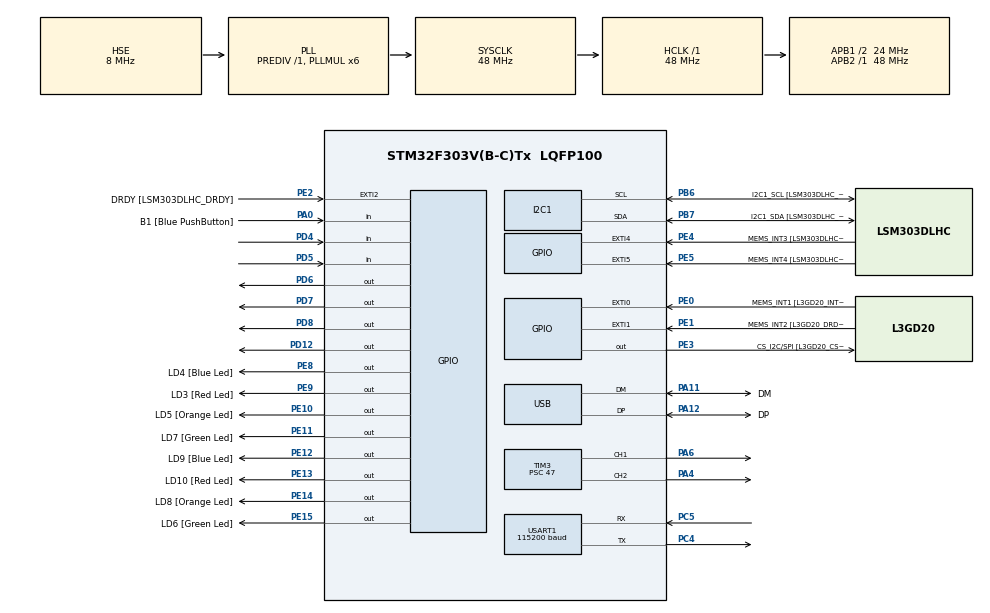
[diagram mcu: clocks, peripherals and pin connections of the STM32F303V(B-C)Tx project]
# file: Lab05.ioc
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I2C1.Timing=0x2000090E
I2C1.Timing-I2C=0x2000090E
Mcu.Family=STM32F3
Mcu.Name=STM32F303V(B-C)Tx
Mcu.Package=LQFP100
NVIC.PriorityGroup=NVIC_PRIORITYGROUP_0
NVIC.USB_LP_CAN_RX0_IRQn=true\:0\:0\:false\:false\:true\:false\:true\:true
PA0.GPIO_Label=B1 [Blue PushButton]
PA0.Signal=GPIO_Input
PA11.GPIO_Label=DM
PA11.Mode=Device
PA11.Signal=USB_DM
PA12.GPIO_Label=DP
PA12.Mode=Device
PA12.Signal=USB_DP
PA13.GPIO_Label=SWDIO
PA13.Mode=Serial_Wire
PA13.Signal=SYS_JTMS-SWDIO
PA14.GPIO_Label=SWCLK
PA14.Mode=Serial_Wire
PA14.Signal=SYS_JTCK-SWCLK
PA4.Signal=S_TIM3_CH2
PA5.GPIO_Label=SPI1_SCK [L3GD20_SCL/SPC]
PA5.Signal=SPI1_SCK
PA6.Signal=S_TIM3_CH1
PA7.GPIO_Label=SPI1_MISO [L3GD20_SDA/SDI/SDO]
PA7.Signal=SPI1_MOSI
PB3.GPIO_Label=SWO
PB3.Signal=SYS_JTDO-TRACESWO
PB6.GPIO_Label=I2C1_SCL [LSM303DLHC_SCL]
PB6.GPIO_Pu=GPIO_PULLUP
PB6.Mode=I2C
PB6.Signal=I2C1_SCL
PB7.GPIO_Label=I2C1_SDA [LSM303DLHC_SDA]
PB7.GPIO_Pu=GPIO_PULLUP
PB7.Mode=I2C
PB7.Signal=I2C1_SDA
PC14-OSC32_IN.GPIO_Label=OSC32_IN
PC14-OSC32_IN.Signal=RCC_OSC32_IN
PC15-OSC32_OUT.GPIO_Label=OSC32_OUT
PC15-OSC32_OUT.Signal=RCC_OSC32_OUT
PC4.Mode=Asynchronous
PC4.Signal=USART1_TX
PC5.Mode=Asynchronous
PC5.Signal=USART1_RX
PD12.Signal=GPIO_Output
PD4.Signal=GPIO_Input
PD5.Signal=GPIO_Input
PD6.Signal=GPIO_Output
PD7.Signal=GPIO_Output
PD8.Signal=GPIO_Output
PE0.GPIO_Label=MEMS_INT1 [L3GD20_INT1]
PE0.GPIO_ModeDefaultEXTI=GPIO_MODE_EVT_RISING
PE0.Signal=GPXTI0
PE1.GPIO_Label=MEMS_INT2 [L3GD20_DRDY/INT2]
PE1.GPIO_ModeDefaultEXTI=GPIO_MODE_EVT_RISING
PE1.Signal=GPXTI1
PE10.GPIO_Label=LD5 [Orange Led]
PE10.Signal=GPIO_Output
PE11.GPIO_Label=LD7 [Green Led]
PE11.Signal=GPIO_Output
PE12.GPIO_Label=LD9 [Blue Led]
PE12.Signal=GPIO_Output
PE13.GPIO_Label=LD10 [Red Led]
PE13.Signal=GPIO_Output
PE14.GPIO_Label=LD8 [Orange Led]
PE14.Signal=GPIO_Output
PE15.GPIO_Label=LD6 [Green Led]
PE15.Signal=GPIO_Output
PE2.GPIO_Label=DRDY [LSM303DLHC_DRDY]
PE2.GPIO_ModeDefaultEXTI=GPIO_MODE_EVT_RISING
PE2.Signal=GPXTI2
PE3.GPIO_Label=CS_I2C/SPI [L3GD20_CS_I2C/SPI]
PE3.Signal=GPIO_Output
PE4.GPIO_Label=MEMS_INT3 [LSM303DLHC_INT1]
PE4.GPIO_ModeDefaultEXTI=GPIO_MODE_EVT_RISING
PE4.Signal=GPXTI4
PE5.GPIO_Label=MEMS_INT4 [LSM303DLHC_INT2]
PE5.GPIO_ModeDefaultEXTI=GPIO_MODE_EVT_RISING
PE5.Signal=GPXTI5
PE8.GPIO_Label=LD4 [Blue Led]
PE8.Signal=GPIO_Output
PE9.GPIO_Label=LD3 [Red Led]
PE9.Signal=GPIO_Output
PF0-OSC_IN.GPIO_Label=OSC_IN
PF0-OSC_IN.Mode=HSE-External-Clock-Source
PF0-OSC_IN.Signal=RCC_OSC_IN
PF1-OSC_OUT.GPIO_Label=OSC_OUT
PF1-OSC_OUT.Signal=RCC_OSC_OUT
ProjectManager.HeapSize=0x200
ProjectManager.StackSize=0x400
ProjectManager.TargetToolchain=CMake
RCC.AHBFreq_Value=48000000
RCC.APB1CLKDivider=RCC_HCLK_DIV2
RCC.APB1Freq_Value=24000000
RCC.APB1TimFreq_Value=48000000
RCC.APB2Freq_Value=48000000
RCC.APB2TimFreq_Value=48000000
RCC.CortexFreq_Value=48000000
RCC.HCLKFreq_Value=48000000
RCC.HSE_VALUE=8000000
RCC.HSI_VALUE=8000000
RCC.LSE_VALUE=32768
RCC.PLLMUL=RCC_PLL_MUL6
RCC.SYSCLKFreq_VALUE=48000000
RCC.SYSCLKSourceVirtual=RCC_SYSCLKSOURCE_PLLCLK
RCC.USBFreq_Value=48000000
SH.S_TIM3_CH1.0=TIM3_CH1,PWM Generation1 CH1
SH.S_TIM3_CH2.0=TIM3_CH2,PWM Generation2 CH2
TIM3.Channel-PWM\ Generation1\ CH1=TIM_CHANNEL_1
TIM3.Channel-PWM\ Generation2\ CH2=TIM_CHANNEL_2
TIM3.Period=999
TIM3.Prescaler=47
TIM3.Pulse-PWM\ Generation1\ CH1=500
TIM3.Pulse-PWM\ Generation2\ CH2=500
USART1.BaudRate=115200
USART1.VirtualMode-Asynchronous=VM_ASYNC
USB_DEVICE.CLASS_NAME_FS=CDC
USB_DEVICE.VirtualMode=Cdc
USB_DEVICE.VirtualModeFS=Cdc_FS
VP_USB_DEVICE_VS_USB_DEVICE_CDC_FS.Mode=CDC_FS
board=STM32F3DISCOVERY

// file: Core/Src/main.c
/* USER CODE BEGIN Header */
/**
  ******************************************************************************
  * @file           : main.c
  * @brief          : Main program body
  ******************************************************************************
  * @attention
  *
  * Copyright (c) 2026 STMicroelectronics.
  * All rights reserved.
  *
  * This software is licensed under terms that can be found in the LICENSE file
  * in the root directory of this software component.
  * If no LICENSE file comes with this software, it is provided AS-IS.
  *
  ******************************************************************************
  */
/* USER CODE END Header */
#include "main.h"
#include "stm32f3xx_hal.h"
#include "usb_device.h"

I2C_HandleTypeDef hi2c1;

TIM_HandleTypeDef htim3;

UART_HandleTypeDef huart1;

void SystemClock_Config(void);
static void MX_GPIO_Init(void);
static void MX_I2C1_Init(void);
static void MX_TIM3_Init(void);
static void MX_USART1_UART_Init(void);

/* USER CODE BEGIN 0 */
void RightMotor_Backward(uint8_t speed);
void RightMotor_Forward(uint8_t speed);
void RightMotor_Stop(void);
void LeftMotor_Forward(uint8_t speed);
void LeftMotor_Backward(uint8_t speed);
void LeftMotor_Stop(void);

/* USER CODE END 0 */

int main(void)
{

  /* MCU Configuration--------------------------------------------------------*/

  /* Reset of all peripherals, Initializes the Flash interface and the Systick. */
  HAL_Init();

  /* Configure the system clock */
  SystemClock_Config();

  /* Initialize all configured peripherals */
  MX_GPIO_Init();
  MX_I2C1_Init();
  MX_TIM3_Init();
  MX_USART1_UART_Init();
  MX_USB_DEVICE_Init();
  /* USER CODE BEGIN 2 */
  HAL_TIM_PWM_Start(&htim3, TIM_CHANNEL_1);
  HAL_TIM_PWM_Start(&htim3, TIM_CHANNEL_2);
  /* USER CODE END 2 */

  /* Infinite loop */
  while (1)
  {

    /* USER CODE BEGIN 3 */
    //RightMotor_Backward(255);
     /* USER CODE END WHILE */

    // Update duty cycle
    for (int new_CCR_value = 0; new_CCR_value <= 255; new_CCR_value += 1) {
      HAL_Delay (100);
      LeftMotor_Forward(new_CCR_value);
      RightMotor_Forward(new_CCR_value);
    }
    LeftMotor_Stop();
    RightMotor_Stop();
    HAL_Delay(2000);

    for (int new_CCR_value = 255; new_CCR_value >= 0; new_CCR_value -= 1) {
      HAL_Delay (100);
      LeftMotor_Backward(new_CCR_value);
      RightMotor_Backward(new_CCR_value);
    }
    // RightMotor_Forward(255);
    // LeftMotor_Forward(255);

  }
  /* USER CODE END 3 */
}

void SystemClock_Config(void)
{
  RCC_OscInitTypeDef RCC_OscInitStruct = {0};
  RCC_ClkInitTypeDef RCC_ClkInitStruct = {0};
  RCC_PeriphCLKInitTypeDef PeriphClkInit = {0};

  /** Initializes the RCC Oscillators according to the specified parameters
  * in the RCC_OscInitTypeDef structure.
  */
  RCC_OscInitStruct.OscillatorType = RCC_OSCILLATORTYPE_HSI|RCC_OSCILLATORTYPE_HSE;
  RCC_OscInitStruct.HSEState = RCC_HSE_BYPASS;
  RCC_OscInitStruct.HSEPredivValue = RCC_HSE_PREDIV_DIV1;
  RCC_OscInitStruct.HSIState = RCC_HSI_ON;
  RCC_OscInitStruct.HSICalibrationValue = RCC_HSICALIBRATION_DEFAULT;
  RCC_OscInitStruct.PLL.PLLState = RCC_PLL_ON;
  RCC_OscInitStruct.PLL.PLLSource = RCC_PLLSOURCE_HSE;
  RCC_OscInitStruct.PLL.PLLMUL = RCC_PLL_MUL6;
  if (HAL_RCC_OscConfig(&RCC_OscInitStruct) != HAL_OK)
  {
    Error_Handler();
  }

  /** Initializes the CPU, AHB and APB buses clocks
  */
  RCC_ClkInitStruct.ClockType = RCC_CLOCKTYPE_HCLK|RCC_CLOCKTYPE_SYSCLK
                              |RCC_CLOCKTYPE_PCLK1|RCC_CLOCKTYPE_PCLK2;
  RCC_ClkInitStruct.SYSCLKSource = RCC_SYSCLKSOURCE_PLLCLK;
  RCC_ClkInitStruct.AHBCLKDivider = RCC_SYSCLK_DIV1;
  RCC_ClkInitStruct.APB1CLKDivider = RCC_HCLK_DIV2;
  RCC_ClkInitStruct.APB2CLKDivider = RCC_HCLK_DIV1;

  if (HAL_RCC_ClockConfig(&RCC_ClkInitStruct, FLASH_LATENCY_1) != HAL_OK)
  {
    Error_Handler();
  }
  PeriphClkInit.PeriphClockSelection = RCC_PERIPHCLK_USB|RCC_PERIPHCLK_USART1
                              |RCC_PERIPHCLK_I2C1;
  PeriphClkInit.Usart1ClockSelection = RCC_USART1CLKSOURCE_PCLK2;
  PeriphClkInit.I2c1ClockSelection = RCC_I2C1CLKSOURCE_HSI;
  PeriphClkInit.USBClockSelection = RCC_USBCLKSOURCE_PLL;
  if (HAL_RCCEx_PeriphCLKConfig(&PeriphClkInit) != HAL_OK)
  {
    Error_Handler();
  }
}

static void MX_I2C1_Init(void)
{

  hi2c1.Instance = I2C1;
  hi2c1.Init.Timing = 0x2000090E;
  hi2c1.Init.OwnAddress1 = 0;
  hi2c1.Init.AddressingMode = I2C_ADDRESSINGMODE_7BIT;
  hi2c1.Init.DualAddressMode = I2C_DUALADDRESS_DISABLE;
  hi2c1.Init.OwnAddress2 = 0;
  hi2c1.Init.OwnAddress2Masks = I2C_OA2_NOMASK;
  hi2c1.Init.GeneralCallMode = I2C_GENERALCALL_DISABLE;
  hi2c1.Init.NoStretchMode = I2C_NOSTRETCH_DISABLE;
  if (HAL_I2C_Init(&hi2c1) != HAL_OK)
  {
    Error_Handler();
  }

  /** Configure Analogue filter
  */
  if (HAL_I2CEx_ConfigAnalogFilter(&hi2c1, I2C_ANALOGFILTER_ENABLE) != HAL_OK)
  {
    Error_Handler();
  }

  /** Configure Digital filter
  */
  if (HAL_I2CEx_ConfigDigitalFilter(&hi2c1, 0) != HAL_OK)
  {
    Error_Handler();
  }

}

static void MX_TIM3_Init(void)
{

  TIM_MasterConfigTypeDef sMasterConfig = {0};
  TIM_OC_InitTypeDef sConfigOC = {0};

  htim3.Instance = TIM3;
  htim3.Init.Prescaler = 47;
  htim3.Init.CounterMode = TIM_COUNTERMODE_UP;
  htim3.Init.Period = 999;
  htim3.Init.ClockDivision = TIM_CLOCKDIVISION_DIV1;
  htim3.Init.AutoReloadPreload = TIM_AUTORELOAD_PRELOAD_DISABLE;
  if (HAL_TIM_PWM_Init(&htim3) != HAL_OK)
  {
    Error_Handler();
  }
  sMasterConfig.MasterOutputTrigger = TIM_TRGO_RESET;
  sMasterConfig.MasterSlaveMode = TIM_MASTERSLAVEMODE_DISABLE;
  if (HAL_TIMEx_MasterConfigSynchronization(&htim3, &sMasterConfig) != HAL_OK)
  {
    Error_Handler();
  }
  sConfigOC.OCMode = TIM_OCMODE_PWM1;
  sConfigOC.Pulse = 500;
  sConfigOC.OCPolarity = TIM_OCPOLARITY_HIGH;
  sConfigOC.OCFastMode = TIM_OCFAST_DISABLE;
  if (HAL_TIM_PWM_ConfigChannel(&htim3, &sConfigOC, TIM_CHANNEL_1) != HAL_OK)
  {
    Error_Handler();
  }
  if (HAL_TIM_PWM_ConfigChannel(&htim3, &sConfigOC, TIM_CHANNEL_2) != HAL_OK)
  {
    Error_Handler();
  }
  HAL_TIM_MspPostInit(&htim3);

}

static void MX_USART1_UART_Init(void)
{

  huart1.Instance = USART1;
  huart1.Init.BaudRate = 115200;
  huart1.Init.WordLength = UART_WORDLENGTH_8B;
  huart1.Init.StopBits = UART_STOPBITS_1;
  huart1.Init.Parity = UART_PARITY_NONE;
  huart1.Init.Mode = UART_MODE_TX_RX;
  huart1.Init.HwFlowCtl = UART_HWCONTROL_NONE;
  huart1.Init.OverSampling = UART_OVERSAMPLING_16;
  huart1.Init.OneBitSampling = UART_ONE_BIT_SAMPLE_DISABLE;
  huart1.AdvancedInit.AdvFeatureInit = UART_ADVFEATURE_NO_INIT;
  if (HAL_UART_Init(&huart1) != HAL_OK)
  {
    Error_Handler();
  }

}

static void MX_GPIO_Init(void)
{
  GPIO_InitTypeDef GPIO_InitStruct = {0};

  /* GPIO Ports Clock Enable */
  __HAL_RCC_GPIOE_CLK_ENABLE();
  __HAL_RCC_GPIOC_CLK_ENABLE();
  __HAL_RCC_GPIOF_CLK_ENABLE();
  __HAL_RCC_GPIOA_CLK_ENABLE();
  __HAL_RCC_GPIOD_CLK_ENABLE();
  __HAL_RCC_GPIOB_CLK_ENABLE();

  /*Configure GPIO pin Output Level */
  HAL_GPIO_WritePin(GPIOE, CS_I2C_SPI_Pin|LD4_Pin|LD3_Pin|LD5_Pin
                          |LD7_Pin|LD9_Pin|LD10_Pin|LD8_Pin
                          |LD6_Pin, GPIO_PIN_RESET);

  /*Configure GPIO pin Output Level */
  HAL_GPIO_WritePin(GPIOD, GPIO_PIN_8|GPIO_PIN_12|GPIO_PIN_6|GPIO_PIN_7, GPIO_PIN_RESET);

  /*Configure GPIO pins : DRDY_Pin MEMS_INT3_Pin MEMS_INT4_Pin MEMS_INT1_Pin
                           MEMS_INT2_Pin */
  GPIO_InitStruct.Pin = DRDY_Pin|MEMS_INT3_Pin|MEMS_INT4_Pin|MEMS_INT1_Pin
                          |MEMS_INT2_Pin;
  GPIO_InitStruct.Mode = GPIO_MODE_EVT_RISING;
  GPIO_InitStruct.Pull = GPIO_NOPULL;
  HAL_GPIO_Init(GPIOE, &GPIO_InitStruct);

  /*Configure GPIO pins : CS_I2C_SPI_Pin LD4_Pin LD3_Pin LD5_Pin
                           LD7_Pin LD9_Pin LD10_Pin LD8_Pin
                           LD6_Pin */
  GPIO_InitStruct.Pin = CS_I2C_SPI_Pin|LD4_Pin|LD3_Pin|LD5_Pin
                          |LD7_Pin|LD9_Pin|LD10_Pin|LD8_Pin
                          |LD6_Pin;
  GPIO_InitStruct.Mode = GPIO_MODE_OUTPUT_PP;
  GPIO_InitStruct.Pull = GPIO_NOPULL;
  GPIO_InitStruct.Speed = GPIO_SPEED_FREQ_LOW;
  HAL_GPIO_Init(GPIOE, &GPIO_InitStruct);

  /*Configure GPIO pin : B1_Pin */
  GPIO_InitStruct.Pin = B1_Pin;
  GPIO_InitStruct.Mode = GPIO_MODE_INPUT;
  GPIO_InitStruct.Pull = GPIO_NOPULL;
  HAL_GPIO_Init(B1_GPIO_Port, &GPIO_InitStruct);

  /*Configure GPIO pins : SPI1_SCK_Pin SPI1_MISO_Pin */
  GPIO_InitStruct.Pin = SPI1_SCK_Pin|SPI1_MISO_Pin;
  GPIO_InitStruct.Mode = GPIO_MODE_AF_PP;
  GPIO_InitStruct.Pull = GPIO_NOPULL;
  GPIO_InitStruct.Speed = GPIO_SPEED_FREQ_HIGH;
  GPIO_InitStruct.Alternate = GPIO_AF5_SPI1;
  HAL_GPIO_Init(GPIOA, &GPIO_InitStruct);

  /*Configure GPIO pins : PD8 PD12 PD6 PD7 */
  GPIO_InitStruct.Pin = GPIO_PIN_8|GPIO_PIN_12|GPIO_PIN_6|GPIO_PIN_7;
  GPIO_InitStruct.Mode = GPIO_MODE_OUTPUT_PP;
  GPIO_InitStruct.Pull = GPIO_NOPULL;
  GPIO_InitStruct.Speed = GPIO_SPEED_FREQ_LOW;
  HAL_GPIO_Init(GPIOD, &GPIO_InitStruct);

  /*Configure GPIO pins : PD4 PD5 */
  GPIO_InitStruct.Pin = GPIO_PIN_4|GPIO_PIN_5;
  GPIO_InitStruct.Mode = GPIO_MODE_INPUT;
  GPIO_InitStruct.Pull = GPIO_NOPULL;
  HAL_GPIO_Init(GPIOD, &GPIO_InitStruct);

}

/* USER CODE BEGIN 4 */
void RightMotor_Forward(uint8_t speed)
{
    HAL_GPIO_WritePin(GPIOD, GPIO_PIN_8, GPIO_PIN_SET);     // D8 HIGH
    HAL_GPIO_WritePin(GPIOD, GPIO_PIN_12, GPIO_PIN_RESET);  // D12 LOW

    __HAL_TIM_SET_COMPARE(&htim3, TIM_CHANNEL_1, speed);    // PWM speed
}

void RightMotor_Backward(uint8_t speed)
{
    HAL_GPIO_WritePin(GPIOD, GPIO_PIN_8, GPIO_PIN_RESET);   // D8 LOW
    HAL_GPIO_WritePin(GPIOD, GPIO_PIN_12, GPIO_PIN_SET);    // D12 HIGH

    __HAL_TIM_SET_COMPARE(&htim3, TIM_CHANNEL_1, speed);
}

void RightMotor_Stop()
{
    HAL_GPIO_WritePin(GPIOD, GPIO_PIN_8, GPIO_PIN_RESET);
    HAL_GPIO_WritePin(GPIOD, GPIO_PIN_12, GPIO_PIN_RESET);

    __HAL_TIM_SET_COMPARE(&htim3, TIM_CHANNEL_1, 0);
}

void LeftMotor_Forward(uint8_t speed)
{
    HAL_GPIO_WritePin(GPIOD, GPIO_PIN_7, GPIO_PIN_SET);     // D7 HIGH
    HAL_GPIO_WritePin(GPIOD, GPIO_PIN_6, GPIO_PIN_RESET);  // D6 LOW

    __HAL_TIM_SET_COMPARE(&htim3, TIM_CHANNEL_2, speed);    // PWM speed
}

void LeftMotor_Backward(uint8_t speed)
{
    HAL_GPIO_WritePin(GPIOD, GPIO_PIN_7, GPIO_PIN_RESET);   // D7 LOW
    HAL_GPIO_WritePin(GPIOD, GPIO_PIN_6, GPIO_PIN_SET);    // D6 HIGH

    __HAL_TIM_SET_COMPARE(&htim3, TIM_CHANNEL_2, speed);
}

void LeftMotor_Stop(void)
{
    HAL_GPIO_WritePin(GPIOD, GPIO_PIN_7, GPIO_PIN_RESET);
    HAL_GPIO_WritePin(GPIOD, GPIO_PIN_6, GPIO_PIN_RESET);

    __HAL_TIM_SET_COMPARE(&htim3, TIM_CHANNEL_2, 0);
}
/* USER CODE END 4 */

void Error_Handler(void)
{
  __disable_irq();
  while (1)
  {
  }
}
